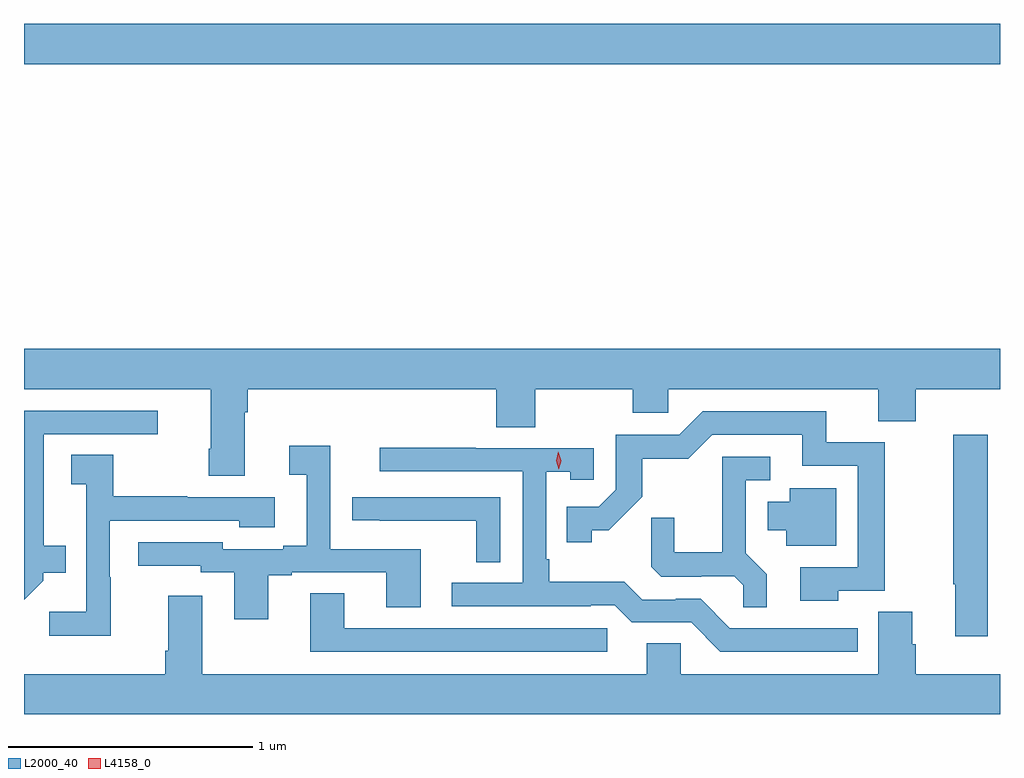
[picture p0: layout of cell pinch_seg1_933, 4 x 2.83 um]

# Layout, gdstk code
import gdstk
lib = gdstk.Library(unit=1e-6, precision=1e-09)
def R(c, l, rs):  # rectangles x0, y0, x1, y1
    for r in rs: c.add(gdstk.rectangle(r[:2], r[2:], *l))
def P(c, l, *ps):  # polygons
    for p in ps: c.add(gdstk.Polygon(p, *l))
L2000_40 = (2000, 40)
L4158_0 = (4158, 0)

pinch_seg1_933 = lib.new_cell('pinch_seg1_933')
R(pinch_seg1_933, L2000_40, [(226.58,525.092,230.58,525.256)])
P(pinch_seg1_933, L2000_40, [(227.485,523.664),(227.498,523.664),(227.498,523.76),(228.515,523.76),(228.515,523.603),(228.675,523.603),(228.675,523.76),(229.075,523.76),(229.075,523.662),(229.221,523.662),(229.221,523.76),(230.081,523.76),(230.081,523.627),(230.234,523.627),(230.234,523.76),(230.58,523.76),(230.58,523.924),(226.58,523.924),(226.58,523.76),(227.345,523.76),(227.345,523.516),(227.338,523.516),(227.338,523.404),(227.485,523.404)],
  [(226.659,522.975),(226.659,523.007),(226.751,523.007),(226.751,523.117),(226.66,523.117),(226.66,523.575),(227.128,523.575),(227.128,523.671),(226.58,523.671),(226.58,522.896)],
  [(229.917,522.933),(230.107,522.933),(230.107,523.542),(229.868,523.542),(229.868,523.668),(229.362,523.668),(229.266,523.572),(229.005,523.572),(229.005,523.347),(228.936,523.278),(228.805,523.278),(228.805,523.131),(228.906,523.131),(228.906,523.181),(228.976,523.181),(229.114,523.318),(229.114,523.474),(229.303,523.474),(229.401,523.572),(229.769,523.572),(229.769,523.446),(229.998,523.446),(229.998,523.029),(229.761,523.029),(229.761,522.893),(229.917,522.893)],
  [(230.53,523.573),(230.389,523.573),(230.389,522.959),(230.396,522.959),(230.396,522.746),(230.53,522.746)],
  [(227.581,522.996),(227.677,522.996),(227.677,523.008),(228.065,523.008),(228.065,522.865),(228.205,522.865),(228.205,523.104),(227.835,523.104),(227.835,523.528),(227.667,523.528),(227.667,523.408),(227.738,523.408),(227.738,523.117),(227.642,523.117),(227.642,523.104),(227.394,523.104),(227.394,523.131),(227.049,523.131),(227.049,523.035),(227.304,523.035),(227.304,523.008),(227.441,523.008),(227.441,522.816),(227.581,522.816)],
  [(229.996,522.78),(229.473,522.78),(229.353,522.9),(229.252,522.9),(229.252,522.897),(229.113,522.897),(229.04,522.97),(228.733,522.97),(228.733,523.063),(228.72,523.063),(228.72,523.421),(228.819,523.421),(228.819,523.389),(228.915,523.389),(228.915,523.518),(228.431,523.518),(228.431,523.52),(228.039,523.52),(228.039,523.422),(228.624,523.422),(228.624,522.966),(228.333,522.966),(228.333,522.87),(228.902,522.87),(228.902,522.873),(229.002,522.873),(229.071,522.804),(229.314,522.804),(229.434,522.684),(229.996,522.684)],
  [(226.935,522.989),(226.932,522.989),(226.932,523.221),(227.463,523.221),(227.463,523.193),(227.608,523.193),(227.608,523.317),(227.249,523.317),(227.249,523.32),(226.945,523.32),(226.945,523.49),(226.773,523.49),(226.773,523.369),(226.836,523.369),(226.836,522.847),(226.683,522.847),(226.683,522.749),(226.935,522.749)],
  [(229.625,523.001),(229.539,523.087),(229.539,523.386),(229.639,523.386),(229.639,523.482),(229.442,523.482),(229.442,523.09),(229.244,523.09),(229.244,523.233),(229.15,523.233),(229.15,523.031),(229.191,522.99),(229.356,522.99),(229.356,522.993),(229.49,522.993),(229.527,522.956),(229.527,522.865),(229.625,522.865)],
  [(229.909,523.354),(229.718,523.354),(229.718,523.297),(229.628,523.297),(229.628,523.181),(229.703,523.181),(229.703,523.118),(229.909,523.118)],
  [(228.531,523.317),(227.925,523.317),(227.925,523.222),(228.037,523.222),(228.037,523.221),(228.433,523.221),(228.433,523.051),(228.531,523.051)],
  [(228.97,522.78),(227.893,522.78),(227.893,522.923),(227.753,522.923),(227.753,522.684),(228.97,522.684)],
  [(230.58,522.592),(230.234,522.592),(230.234,522.714),(230.221,522.714),(230.221,522.848),(230.081,522.848),(230.081,522.592),(229.272,522.592),(229.272,522.719),(229.133,522.719),(229.133,522.592),(227.311,522.592),(227.311,522.913),(227.171,522.913),(227.171,522.688),(227.159,522.688),(227.159,522.592),(226.58,522.592),(226.58,522.428),(230.58,522.428)])
P(pinch_seg1_933, L4158_0, [(228.772,523.431),(228.772,523.431),(228.761,523.466),(228.77,523.503),(228.77,523.503),(228.77,523.503),(228.781,523.467),(228.772,523.431)])

lib.write_gds('pinch_seg1_933.gds')
